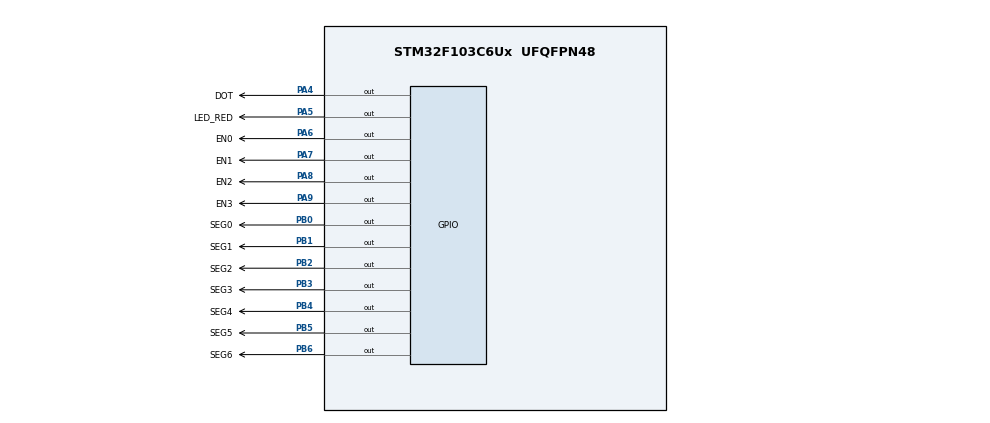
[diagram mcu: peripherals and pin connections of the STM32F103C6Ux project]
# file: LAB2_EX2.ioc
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Mcu.Family=STM32F1
Mcu.Name=STM32F103C6Ux
Mcu.Package=UFQFPN48
NVIC.PriorityGroup=NVIC_PRIORITYGROUP_4
NVIC.TIM2_IRQn=true\:0\:0\:false\:false\:true\:true\:true
PA4.GPIO_Label=DOT
PA4.Signal=GPIO_Output
PA5.GPIO_Label=LED_RED
PA5.Signal=GPIO_Output
PA6.GPIO_Label=EN0
PA6.Signal=GPIO_Output
PA7.GPIO_Label=EN1
PA7.Signal=GPIO_Output
PA8.GPIO_Label=EN2
PA8.Signal=GPIO_Output
PA9.GPIO_Label=EN3
PA9.Signal=GPIO_Output
PB0.GPIO_Label=SEG0
PB0.Signal=GPIO_Output
PB1.GPIO_Label=SEG1
PB1.Signal=GPIO_Output
PB2.GPIO_Label=SEG2
PB2.Signal=GPIO_Output
PB3.GPIO_Label=SEG3
PB3.Signal=GPIO_Output
PB4.GPIO_Label=SEG4
PB4.Signal=GPIO_Output
PB5.GPIO_Label=SEG5
PB5.Signal=GPIO_Output
PB6.GPIO_Label=SEG6
PB6.Signal=GPIO_Output
ProjectManager.HeapSize=0x200
ProjectManager.StackSize=0x400
ProjectManager.TargetToolchain=STM32CubeIDE
RCC.APB1Freq_Value=8000000
RCC.APB2Freq_Value=8000000
TIM2.Period=9
TIM2.Prescaler=7999
VP_SYS_VS_ND.Mode=No_Debug
VP_TIM2_VS_ClockSourceINT.Mode=Internal
board=custom

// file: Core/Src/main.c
/* USER CODE BEGIN Header */
/**
  ******************************************************************************
  * @file           : main.c
  * @brief          : Main program body
  ******************************************************************************
  * @attention
  *
  * <h2><center>&copy; Copyright (c) 2025 STMicroelectronics.
  * All rights reserved.</center></h2>
  *
  * This software component is licensed by ST under BSD 3-Clause license,
  * the "License"; You may not use this file except in compliance with the
  * License. You may obtain a copy of the License at:
  *                        opensource.org/licenses/BSD-3-Clause
  *
  ******************************************************************************
  */
/* USER CODE END Header */
#include "main.h"

/* USER CODE BEGIN Includes */
#include "software_timer.h"
#include "display_led.h"
/* USER CODE END Includes */

TIM_HandleTypeDef htim2;

void SystemClock_Config(void);
static void MX_GPIO_Init(void);
static void MX_TIM2_Init(void);

int main(void)
{

  /* MCU Configuration--------------------------------------------------------*/

  /* Reset of all peripherals, Initializes the Flash interface and the Systick. */
  HAL_Init();

  /* Configure the system clock */
  SystemClock_Config();

  /* Initialize all configured peripherals */
  MX_GPIO_Init();
  MX_TIM2_Init();
  /* USER CODE BEGIN 2 */
  HAL_TIM_Base_Start_IT(&htim2);
  /* USER CODE END 2 */

  /* Infinite loop */
  /* USER CODE BEGIN WHILE */
   setTimer1(50);
   setTimer2(100);
   int led_index = 0;
   int led_buffer[4] = {1,2,3,0};
   HAL_GPIO_WritePin(DOT_GPIO_Port, DOT_Pin, SET);
   while (1)
   { if (timer1_flag == 1 ){
 	  setTimer1(50);
 	  //TODO
 	  update7SEG(led_index);
 	  display7SEG(led_buffer[led_index]);
 	  led_index = (led_index + 1) % 4;

   }
   if (timer2_flag == 1 ){
   	  setTimer2(100);
   	  //TODO
     HAL_GPIO_TogglePin(LED_RED_GPIO_Port, LED_RED_Pin);
     HAL_GPIO_TogglePin(DOT_GPIO_Port, DOT_Pin);
     }
    /* USER CODE END WHILE */

  }
}

void SystemClock_Config(void)
{
  RCC_OscInitTypeDef RCC_OscInitStruct = {0};
  RCC_ClkInitTypeDef RCC_ClkInitStruct = {0};

  /** Initializes the RCC Oscillators according to the specified parameters
  * in the RCC_OscInitTypeDef structure.
  */
  RCC_OscInitStruct.OscillatorType = RCC_OSCILLATORTYPE_HSI;
  RCC_OscInitStruct.HSIState = RCC_HSI_ON;
  RCC_OscInitStruct.HSICalibrationValue = RCC_HSICALIBRATION_DEFAULT;
  RCC_OscInitStruct.PLL.PLLState = RCC_PLL_NONE;
  if (HAL_RCC_OscConfig(&RCC_OscInitStruct) != HAL_OK)
  {
    Error_Handler();
  }
  /** Initializes the CPU, AHB and APB buses clocks
  */
  RCC_ClkInitStruct.ClockType = RCC_CLOCKTYPE_HCLK|RCC_CLOCKTYPE_SYSCLK
                              |RCC_CLOCKTYPE_PCLK1|RCC_CLOCKTYPE_PCLK2;
  RCC_ClkInitStruct.SYSCLKSource = RCC_SYSCLKSOURCE_HSI;
  RCC_ClkInitStruct.AHBCLKDivider = RCC_SYSCLK_DIV1;
  RCC_ClkInitStruct.APB1CLKDivider = RCC_HCLK_DIV1;
  RCC_ClkInitStruct.APB2CLKDivider = RCC_HCLK_DIV1;

  if (HAL_RCC_ClockConfig(&RCC_ClkInitStruct, FLASH_LATENCY_0) != HAL_OK)
  {
    Error_Handler();
  }
}

static void MX_TIM2_Init(void)
{

  TIM_ClockConfigTypeDef sClockSourceConfig = {0};
  TIM_MasterConfigTypeDef sMasterConfig = {0};

  htim2.Instance = TIM2;
  htim2.Init.Prescaler = 7999;
  htim2.Init.CounterMode = TIM_COUNTERMODE_UP;
  htim2.Init.Period = 9;
  htim2.Init.ClockDivision = TIM_CLOCKDIVISION_DIV1;
  htim2.Init.AutoReloadPreload = TIM_AUTORELOAD_PRELOAD_DISABLE;
  if (HAL_TIM_Base_Init(&htim2) != HAL_OK)
  {
    Error_Handler();
  }
  sClockSourceConfig.ClockSource = TIM_CLOCKSOURCE_INTERNAL;
  if (HAL_TIM_ConfigClockSource(&htim2, &sClockSourceConfig) != HAL_OK)
  {
    Error_Handler();
  }
  sMasterConfig.MasterOutputTrigger = TIM_TRGO_RESET;
  sMasterConfig.MasterSlaveMode = TIM_MASTERSLAVEMODE_DISABLE;
  if (HAL_TIMEx_MasterConfigSynchronization(&htim2, &sMasterConfig) != HAL_OK)
  {
    Error_Handler();
  }

}

static void MX_GPIO_Init(void)
{
  GPIO_InitTypeDef GPIO_InitStruct = {0};

  /* GPIO Ports Clock Enable */
  __HAL_RCC_GPIOA_CLK_ENABLE();
  __HAL_RCC_GPIOB_CLK_ENABLE();

  /*Configure GPIO pin Output Level */
  HAL_GPIO_WritePin(GPIOA, DOT_Pin|LED_RED_Pin|EN0_Pin|EN1_Pin
                          |EN2_Pin|EN3_Pin, GPIO_PIN_RESET);

  /*Configure GPIO pin Output Level */
  HAL_GPIO_WritePin(GPIOB, SEG0_Pin|SEG1_Pin|SEG2_Pin|SEG3_Pin
                          |SEG4_Pin|SEG5_Pin|SEG6_Pin, GPIO_PIN_RESET);

  /*Configure GPIO pins : DOT_Pin LED_RED_Pin EN0_Pin EN1_Pin
                           EN2_Pin EN3_Pin */
  GPIO_InitStruct.Pin = DOT_Pin|LED_RED_Pin|EN0_Pin|EN1_Pin
                          |EN2_Pin|EN3_Pin;
  GPIO_InitStruct.Mode = GPIO_MODE_OUTPUT_PP;
  GPIO_InitStruct.Pull = GPIO_NOPULL;
  GPIO_InitStruct.Speed = GPIO_SPEED_FREQ_LOW;
  HAL_GPIO_Init(GPIOA, &GPIO_InitStruct);

  /*Configure GPIO pins : SEG0_Pin SEG1_Pin SEG2_Pin SEG3_Pin
                           SEG4_Pin SEG5_Pin SEG6_Pin */
  GPIO_InitStruct.Pin = SEG0_Pin|SEG1_Pin|SEG2_Pin|SEG3_Pin
                          |SEG4_Pin|SEG5_Pin|SEG6_Pin;
  GPIO_InitStruct.Mode = GPIO_MODE_OUTPUT_PP;
  GPIO_InitStruct.Pull = GPIO_NOPULL;
  GPIO_InitStruct.Speed = GPIO_SPEED_FREQ_LOW;
  HAL_GPIO_Init(GPIOB, &GPIO_InitStruct);

}

/* USER CODE BEGIN 4 */
void HAL_TIM_PeriodElapsedCallback(TIM_HandleTypeDef *htim){
   timerRun();
}
/* USER CODE END 4 */

void Error_Handler(void)
{
  __disable_irq();
  while (1)
  {
  }
}

/************************ (C) COPYRIGHT STMicroelectronics *****END OF FILE****/
